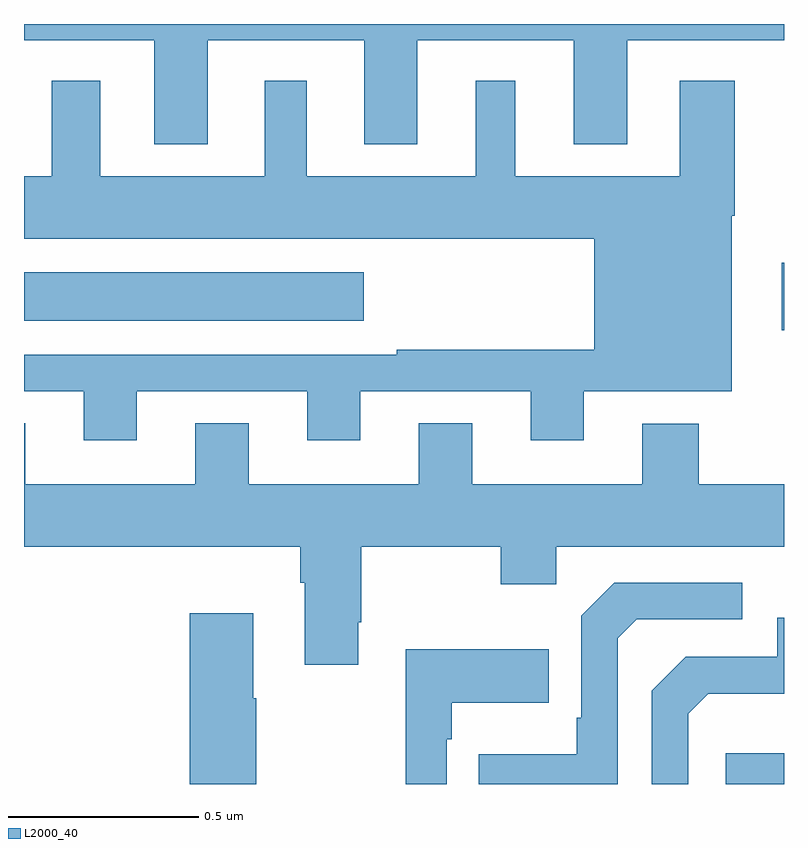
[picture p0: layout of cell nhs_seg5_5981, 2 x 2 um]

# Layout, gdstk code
import gdstk
lib = gdstk.Library(unit=1e-6, precision=1e-09)
def R(c, l, rs):  # rectangles x0, y0, x1, y1
    for r in rs: c.add(gdstk.rectangle(r[:2], r[2:], *l))
def P(c, l, *ps):  # polygons
    for p in ps: c.add(gdstk.Polygon(p, *l))
L2000_40 = (2000, 40)

nhs_seg5_5981 = lib.new_cell('nhs_seg5_5981')
R(nhs_seg5_5981, L2000_40, [(191.847,858.799,192,858.88), (191.994,859.993,192,860.171), (190,860.018,190.894,860.146)])
P(nhs_seg5_5981, L2000_40, [(191.587,860.756),(192,860.756),(192,860.799),(190,860.799),(190,860.756),(190.343,860.756),(190.343,860.483),(190.483,860.483),(190.483,860.756),(190.895,860.756),(190.895,860.483),(191.035,860.483),(191.035,860.756),(191.447,860.756),(191.447,860.483),(191.587,860.483)],
  [(190.297,859.833),(190.745,859.833),(190.745,859.704),(190.885,859.704),(190.885,859.833),(191.333,859.833),(191.333,859.704),(191.473,859.704),(191.473,859.832),(191.863,859.832),(191.863,860.294),(191.871,860.294),(191.871,860.65),(191.726,860.65),(191.726,860.398),(191.293,860.398),(191.293,860.65),(191.189,860.65),(191.189,860.398),(190.744,860.398),(190.744,860.65),(190.634,860.65),(190.634,860.398),(190.201,860.398),(190.201,860.65),(190.073,860.65),(190.073,860.398),(190,860.398),(190,860.234),(191.501,860.234),(191.501,859.942),(190.981,859.942),(190.981,859.929),(190,859.929),(190,859.833),(190.157,859.833),(190.157,859.704),(190.297,859.704)],
  [(190.879,859.225),(190.887,859.225),(190.887,859.424),(191.254,859.424),(191.254,859.325),(191.4,859.325),(191.4,859.424),(192,859.424),(192,859.588),(191.775,859.588),(191.775,859.747),(191.627,859.747),(191.627,859.588),(191.179,859.588),(191.179,859.748),(191.039,859.748),(191.039,859.588),(190.591,859.588),(190.591,859.748),(190.451,859.748),(190.451,859.588),(190.003,859.588),(190.003,859.748),(190,859.748),(190,859.424),(190.727,859.424),(190.727,859.328),(190.739,859.328),(190.739,859.113),(190.879,859.113)],
  [(191.562,859.182),(191.613,859.233),(191.89,859.233),(191.89,859.329),(191.553,859.329),(191.466,859.242),(191.466,858.973),(191.454,858.973),(191.454,858.877),(191.197,858.877),(191.197,858.799),(191.562,858.799)],
  [(190.611,859.025),(190.603,859.025),(190.603,859.249),(190.436,859.249),(190.436,858.799),(190.611,858.799)],
  [(191.748,858.984),(191.801,859.037),(192,859.037),(192,859.236),(191.982,859.236),(191.982,859.134),(191.742,859.134),(191.652,859.044),(191.652,858.799),(191.748,858.799)],
  [(191.112,858.917),(191.125,858.917),(191.125,859.013),(191.381,859.013),(191.381,859.153),(191.004,859.153),(191.004,858.799),(191.112,858.799)])

lib.write_gds('nhs_seg5_5981.gds')
